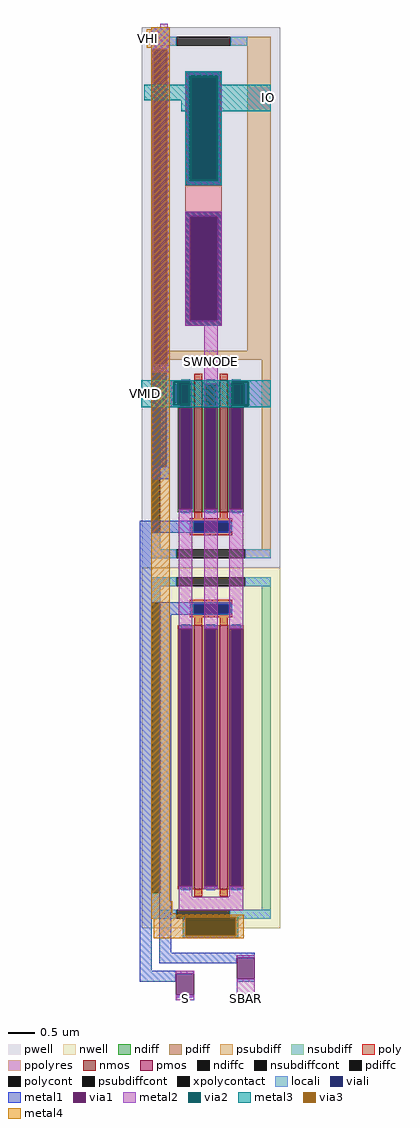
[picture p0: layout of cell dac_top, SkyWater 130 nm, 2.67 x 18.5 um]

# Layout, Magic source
magic
tech sky130A
magscale 1 2
<< nwell >>
rect 4180 -758 4706 609
<< pwell >>
rect 4180 609 4706 2657
<< nmos >>
rect 4380 819 4410 1319
rect 4476 819 4506 1319
<< pmos >>
rect 4380 -610 4410 390
rect 4476 -610 4506 390
<< ndiff >>
rect 4318 1307 4380 1319
rect 4318 831 4330 1307
rect 4364 831 4380 1307
rect 4318 819 4380 831
rect 4410 1307 4476 1319
rect 4410 831 4426 1307
rect 4460 831 4476 1307
rect 4410 819 4476 831
rect 4506 1307 4568 1319
rect 4506 831 4522 1307
rect 4556 831 4568 1307
rect 4506 819 4568 831
<< pdiff >>
rect 4318 378 4380 390
rect 4318 -598 4330 378
rect 4364 -598 4380 378
rect 4318 -610 4380 -598
rect 4410 378 4476 390
rect 4410 -598 4426 378
rect 4460 -598 4476 378
rect 4410 -610 4476 -598
rect 4506 378 4568 390
rect 4506 -598 4522 378
rect 4556 -598 4568 378
rect 4506 -610 4568 -598
<< ndiffc >>
rect 4330 831 4364 1307
rect 4426 831 4460 1307
rect 4522 831 4556 1307
<< pdiffc >>
rect 4330 -598 4364 378
rect 4426 -598 4460 378
rect 4522 -598 4556 378
<< psubdiff >>
rect 4216 2587 4312 2621
rect 4518 2587 4670 2621
rect 4216 2525 4250 2587
rect 4580 1431 4670 2587
rect 4250 1397 4670 1431
rect 4216 679 4250 741
rect 4636 679 4670 1397
rect 4216 645 4312 679
rect 4574 645 4670 679
<< nsubdiff >>
rect 4216 539 4312 573
rect 4574 539 4670 573
rect 4216 477 4250 539
rect 4216 -688 4250 -626
rect 4636 -688 4670 539
rect 4216 -722 4312 -688
rect 4515 -722 4670 -688
<< psubdiffcont >>
rect 4312 2587 4518 2621
rect 4216 741 4250 2525
rect 4312 645 4574 679
<< nsubdiffcont >>
rect 4312 539 4574 573
rect 4216 -626 4250 477
rect 4312 -722 4515 -688
<< poly >>
rect 4380 1319 4410 1345
rect 4476 1319 4506 1345
rect 4380 797 4410 819
rect 4476 797 4506 819
rect 4362 781 4524 797
rect 4362 747 4378 781
rect 4508 747 4524 781
rect 4362 731 4524 747
rect 4362 471 4524 487
rect 4362 437 4378 471
rect 4508 437 4524 471
rect 4362 421 4524 437
rect 4380 390 4410 421
rect 4476 390 4506 421
rect 4380 -636 4410 -610
rect 4476 -636 4506 -610
<< polycont >>
rect 4378 747 4508 781
rect 4378 437 4508 471
<< xpolycontact >>
rect 4346 2059 4484 2491
rect 4346 1527 4484 1959
<< ppolyres >>
rect 4346 1959 4484 2059
<< locali >>
rect 4216 2621 4287 2658
rect 4216 2587 4312 2621
rect 4518 2587 4580 2621
rect 4216 2574 4287 2587
rect 4216 2525 4229 2574
rect 4274 991 4287 2574
rect 4330 1319 4364 1323
rect 4321 1307 4364 1319
rect 4321 1217 4330 1307
rect 4250 944 4287 991
rect 4330 815 4364 831
rect 4426 1307 4460 1323
rect 4426 815 4460 831
rect 4522 1307 4556 1323
rect 4522 815 4556 831
rect 4362 747 4378 781
rect 4508 747 4524 781
rect 4216 679 4250 741
rect 4216 645 4312 679
rect 4574 645 4670 679
rect 4216 539 4312 573
rect 4574 539 4670 573
rect 4216 477 4250 539
rect 4362 437 4378 471
rect 4508 437 4524 471
rect 4330 378 4364 394
rect 4330 -614 4364 -598
rect 4426 378 4460 394
rect 4426 -614 4460 -598
rect 4522 378 4556 394
rect 4522 -614 4556 -598
rect 4216 -688 4250 -626
rect 4216 -722 4312 -688
rect 4515 -722 4670 -688
rect 4337 -736 4547 -722
rect 4337 -776 4357 -736
rect 4527 -776 4547 -736
rect 4337 -796 4547 -776
<< viali >>
rect 4229 2525 4274 2574
rect 4229 991 4250 2525
rect 4250 991 4274 2525
rect 4362 2076 4468 2473
rect 4362 1545 4468 1942
rect 4330 831 4364 1307
rect 4426 831 4460 1307
rect 4522 831 4556 1307
rect 4378 747 4508 781
rect 4378 437 4508 471
rect 4330 -598 4364 378
rect 4426 -598 4460 378
rect 4522 -598 4556 378
rect 4357 -776 4527 -736
<< metal1 >>
rect 4216 2574 4287 2658
rect 4216 1381 4225 2574
rect 4277 1381 4287 2574
rect 4356 2473 4474 2485
rect 4356 2076 4362 2473
rect 4468 2076 4474 2473
rect 4356 2064 4474 2076
rect 4346 1942 4484 1959
rect 4346 1545 4362 1942
rect 4468 1545 4484 1942
rect 4346 1527 4484 1545
rect 4216 991 4229 1381
rect 4274 991 4287 1381
rect 4216 944 4287 991
rect 4321 1307 4373 1319
rect 4321 819 4373 831
rect 4417 1307 4469 1319
rect 4417 819 4469 831
rect 4513 1307 4565 1319
rect 4513 819 4565 831
rect 4173 781 4520 787
rect 4173 747 4378 781
rect 4508 747 4520 781
rect 4173 741 4520 747
rect 4173 -920 4219 741
rect 4247 471 4520 477
rect 4247 437 4378 471
rect 4508 437 4520 471
rect 4247 431 4520 437
rect 4247 -850 4293 431
rect 4321 378 4373 390
rect 4321 -610 4373 -598
rect 4417 378 4469 390
rect 4417 -610 4469 -598
rect 4513 378 4565 390
rect 4513 -610 4565 -598
rect 4337 -726 4547 -716
rect 4337 -786 4347 -726
rect 4537 -786 4547 -726
rect 4337 -796 4547 -786
rect 4247 -870 4610 -850
rect 4247 -890 4540 -870
rect 4173 -930 4380 -920
rect 4173 -960 4310 -930
rect 4540 -960 4610 -950
rect 4310 -1020 4380 -1010
<< via1 >>
rect 4225 1381 4229 2574
rect 4229 1381 4274 2574
rect 4274 1381 4277 2574
rect 4362 2076 4468 2473
rect 4362 1545 4468 1942
rect 4321 831 4330 1307
rect 4330 831 4364 1307
rect 4364 831 4373 1307
rect 4417 831 4426 1307
rect 4426 831 4460 1307
rect 4460 831 4469 1307
rect 4513 831 4522 1307
rect 4522 831 4556 1307
rect 4556 831 4565 1307
rect 4321 -598 4330 378
rect 4330 -598 4364 378
rect 4364 -598 4373 378
rect 4417 -598 4426 378
rect 4426 -598 4460 378
rect 4460 -598 4469 378
rect 4513 -598 4522 378
rect 4522 -598 4556 378
rect 4556 -598 4565 378
rect 4347 -736 4537 -726
rect 4347 -776 4357 -736
rect 4357 -776 4527 -736
rect 4527 -776 4537 -736
rect 4347 -786 4537 -776
rect 4310 -1010 4380 -930
rect 4540 -950 4610 -870
<< metal2 >>
rect 4250 2658 4280 2670
rect 4216 2574 4287 2658
rect 4216 1381 4225 2574
rect 4277 1381 4287 2574
rect 4346 2473 4484 2491
rect 4346 2076 4362 2473
rect 4468 2076 4484 2473
rect 4346 2059 4484 2076
rect 4346 1942 4484 1959
rect 4346 1545 4362 1942
rect 4468 1545 4484 1942
rect 4346 1527 4484 1545
rect 4216 1350 4287 1381
rect 4291 1314 4373 1319
rect 4291 1224 4300 1314
rect 4364 1307 4373 1314
rect 4291 1218 4321 1224
rect 4321 378 4373 831
rect 4321 -638 4373 -598
rect 4417 1307 4469 1527
rect 4417 378 4469 831
rect 4417 -610 4469 -598
rect 4513 1313 4670 1319
rect 4513 1307 4522 1313
rect 4586 1223 4670 1313
rect 4565 1217 4670 1223
rect 4513 378 4565 831
rect 4513 -638 4565 -598
rect 4321 -690 4565 -638
rect 4337 -786 4347 -726
rect 4537 -786 4547 -726
rect 4337 -796 4547 -786
rect 4540 -870 4610 -860
rect 4310 -930 4380 -920
rect 4310 -1030 4380 -1010
rect 4540 -1030 4610 -950
<< via2 >>
rect 4362 2076 4468 2473
rect 4300 1307 4364 1314
rect 4300 1224 4321 1307
rect 4321 1224 4364 1307
rect 4522 1307 4586 1313
rect 4522 1223 4565 1307
rect 4565 1223 4586 1307
rect 4347 -786 4537 -726
<< metal3 >>
rect 4346 2473 4484 2491
rect 4346 2440 4362 2473
rect 4190 2380 4362 2440
rect 4330 2340 4362 2380
rect 4346 2076 4362 2340
rect 4468 2440 4484 2473
rect 4468 2340 4670 2440
rect 4468 2076 4484 2340
rect 4346 2059 4484 2076
rect 4179 1314 4670 1319
rect 4179 1224 4300 1314
rect 4364 1313 4670 1314
rect 4364 1224 4522 1313
rect 4179 1223 4522 1224
rect 4586 1223 4670 1313
rect 4179 1217 4670 1223
rect 4337 -786 4347 -716
rect 4537 -786 4547 -716
rect 4337 -796 4547 -786
<< via3 >>
rect 4347 -726 4537 -716
rect 4347 -786 4537 -726
<< metal4 >>
rect 4216 2650 4287 2658
rect 4200 2580 4287 2650
rect 4216 -656 4287 2580
rect 4216 -702 4297 -656
rect 4216 -706 4308 -702
rect 4216 -716 4567 -706
rect 4216 -722 4347 -716
rect 4227 -786 4347 -722
rect 4537 -786 4567 -716
rect 4227 -796 4567 -786
<< labels >>
rlabel metal2 4310 -1030 4380 -1020 1 S
port 4 n
rlabel metal2 4540 -1030 4610 -1020 1 SBAR
port 5 n
rlabel metal4 4200 2580 4210 2650 1 VHI
port 3 n
rlabel metal2 4250 2660 4280 2670 5 VLO
port 2 s
rlabel metal3 4650 2340 4670 2440 1 IO
port 1 n
rlabel metal2 4430 1360 4460 1420 1 SWNODE
rlabel metal3 4179 1217 4208 1319 1 VMID
port 6 n
<< end >>
